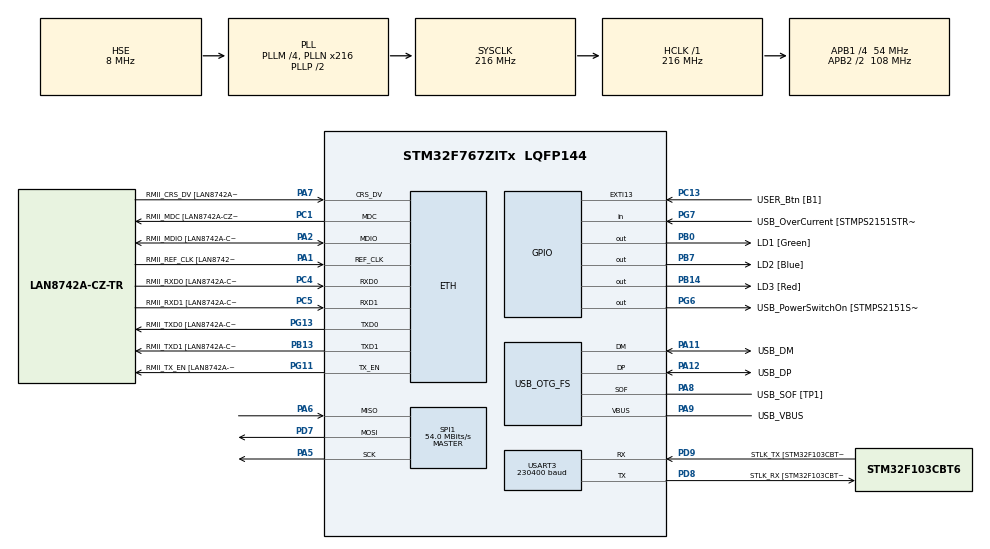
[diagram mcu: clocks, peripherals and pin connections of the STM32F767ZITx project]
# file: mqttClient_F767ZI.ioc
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ETH.MACAddr=02\:00\:00\:00\:00\:00
ETH.MediaInterface=ETH_MEDIA_INTERFACE_RMII
ETH.PHY_Name=LAN8742A_PHY_ADDRESS
ETH.PHY_Value=0
ETH.PhyAddress=1
FREERTOS.Tasks01=defaultTask,32,2048,StartDefaultTask,Default,NULL,Dynamic,NULL,NULL
FREERTOS.configMINIMAL_STACK_SIZE=2048
FREERTOS.configTOTAL_HEAP_SIZE=65355
LWIP.CMSIS_VERSION-Enabled=1
LWIP.DEFAULT_THREAD_STACKSIZE=4096
LWIP.DHCP_DEBUG=LWIP_DBG_ON
LWIP.IP_DEBUG=LWIP_DBG_ON
LWIP.LWIP_ALTCP=1
LWIP.LWIP_ALTCP_TLS=1
LWIP.MEMP_DEBUG=LWIP_DBG_ON
LWIP.MEMP_NUM_PBUF=40
LWIP.MEM_DEBUG=LWIP_DBG_ON
LWIP.MEM_SIZE=32768
LWIP.NETIF_DEBUG=LWIP_DBG_ON
LWIP.PBUF_DEBUG=LWIP_DBG_ON
LWIP.PBUF_POOL_BUFSIZE=1524
LWIP.PBUF_POOL_SIZE=50
LWIP.RAW_DEBUG=LWIP_DBG_ON
LWIP.SLIPIF_THREAD_STACKSIZE=2048
LWIP.SYS_DEBUG=LWIP_DBG_ON
LWIP.TCPIP_DEBUG=LWIP_DBG_ON
LWIP.TCPIP_THREAD_STACKSIZE=4096
LWIP.TCP_DEBUG=LWIP_DBG_ON
LWIP.TCP_INPUT_DEBUG=LWIP_DBG_ON
LWIP.TCP_MSS=1460
LWIP.TCP_OUTPUT_DEBUG=LWIP_DBG_ON
LWIP.TCP_SND_BUF=2921
LWIP.TCP_WND=2920
LWIP.TIMERS_DEBUG=LWIP_DBG_ON
LWIP.Version=v2.1.2_Cube
Mcu.Family=STM32F7
Mcu.Name=STM32F767ZITx
Mcu.Package=LQFP144
Mcu.UserConstants=MQTT_USE_TLS,1
NVIC.ETH_IRQn=true\:5\:0\:false\:false\:true\:true\:false\:true
NVIC.HASH_RNG_IRQn=true\:5\:0\:false\:false\:true\:true\:true\:true
NVIC.PriorityGroup=NVIC_PRIORITYGROUP_4
NVIC.TIM2_IRQn=true\:0\:0\:false\:false\:true\:false\:false\:true
NVIC.TimeBase=TIM2_IRQn
NVIC.TimeBaseIP=TIM2
NVIC.USART3_IRQn=true\:5\:0\:false\:false\:true\:true\:true\:true
PA1.GPIO_Label=RMII_REF_CLK [LAN8742A-CZ-TR_REFCLK0]
PA1.Mode=RMII
PA1.Signal=ETH_REF_CLK
PA10.GPIO_Label=USB_ID
PA10.Signal=USB_OTG_FS_ID
PA11.GPIO_Label=USB_DM
PA11.Mode=Device_Only
PA11.Signal=USB_OTG_FS_DM
PA12.GPIO_Label=USB_DP
PA12.Mode=Device_Only
PA12.Signal=USB_OTG_FS_DP
PA13.GPIO_Label=TMS
PA13.Mode=Serial_Wire
PA13.Signal=SYS_JTMS-SWDIO
PA14.GPIO_Label=TCK
PA14.Mode=Serial_Wire
PA14.Signal=SYS_JTCK-SWCLK
PA2.GPIO_Label=RMII_MDIO [LAN8742A-CZ-TR_MDIO]
PA2.Mode=RMII
PA2.Signal=ETH_MDIO
PA5.Mode=Full_Duplex_Master
PA5.Signal=SPI1_SCK
PA6.Mode=Full_Duplex_Master
PA6.Signal=SPI1_MISO
PA7.GPIO_Label=RMII_CRS_DV [LAN8742A-CZ-TR_CRS_DV]
PA7.Mode=RMII
PA7.Signal=ETH_CRS_DV
PA8.GPIO_Label=USB_SOF [TP1]
PA8.Mode=Activate_SOF_FS
PA8.Signal=USB_OTG_FS_SOF
PA9.GPIO_Label=USB_VBUS
PA9.Mode=Activate_VBUS
PA9.Signal=USB_OTG_FS_VBUS
PB0.GPIO_Label=LD1 [Green]
PB0.Signal=GPIO_Output
PB13.GPIO_Label=RMII_TXD1 [LAN8742A-CZ-TR_TXD1]
PB13.Mode=RMII
PB13.Signal=ETH_TXD1
PB14.GPIO_Label=LD3 [Red]
PB14.Signal=GPIO_Output
PB3.GPIO_Label=SWO
PB3.Signal=SYS_JTDO-SWO
PB7.GPIO_Label=LD2 [Blue]
PB7.Signal=GPIO_Output
PC1.GPIO_Label=RMII_MDC [LAN8742A-CZ-TR_MDC]
PC1.Mode=RMII
PC1.Signal=ETH_MDC
PC13.GPIO_Label=USER_Btn [B1]
PC13.Signal=GPXTI13
PC14/OSC32_IN.Mode=LSE-External-Clock-Source
PC14/OSC32_IN.Signal=RCC_OSC32_IN
PC15/OSC32_OUT.Mode=LSE-External-Clock-Source
PC15/OSC32_OUT.Signal=RCC_OSC32_OUT
PC4.GPIO_Label=RMII_RXD0 [LAN8742A-CZ-TR_RXD0]
PC4.Mode=RMII
PC4.Signal=ETH_RXD0
PC5.GPIO_Label=RMII_RXD1 [LAN8742A-CZ-TR_RXD1]
PC5.Mode=RMII
PC5.Signal=ETH_RXD1
PD7.Mode=Full_Duplex_Master
PD7.Signal=SPI1_MOSI
PD8.GPIO_Label=STLK_RX [STM32F103CBT6_PA3]
PD8.Mode=Asynchronous
PD8.Signal=USART3_TX
PD9.GPIO_Label=STLK_TX [STM32F103CBT6_PA2]
PD9.Mode=Asynchronous
PD9.Signal=USART3_RX
PG11.GPIO_Label=RMII_TX_EN [LAN8742A-CZ-TR_TXEN]
PG11.Mode=RMII
PG11.Signal=ETH_TX_EN
PG13.GPIO_Label=RMII_TXD0 [LAN8742A-CZ-TR_TXD0]
PG13.Mode=RMII
PG13.Signal=ETH_TXD0
PG6.GPIO_Label=USB_PowerSwitchOn [STMPS2151STR_EN]
PG6.Signal=GPIO_Output
PG7.GPIO_Label=USB_OverCurrent [STMPS2151STR_FAULT]
PG7.Signal=GPIO_Input
PH0/OSC_IN.GPIO_Label=MCO [STM32F103CBT6_PA8]
PH0/OSC_IN.Mode=HSE-External-Oscillator
PH0/OSC_IN.Signal=RCC_OSC_IN
PH1/OSC_OUT.Mode=HSE-External-Oscillator
PH1/OSC_OUT.Signal=RCC_OSC_OUT
ProjectManager.HeapSize=0x20000
ProjectManager.StackSize=0x2000
ProjectManager.TargetToolchain=EWARM V8.32
RCC.48MHZClocksFreq_Value=24000000
RCC.AHBFreq_Value=216000000
RCC.APB1CLKDivider=RCC_HCLK_DIV4
RCC.APB1Freq_Value=54000000
RCC.APB1TimFreq_Value=108000000
RCC.APB2CLKDivider=RCC_HCLK_DIV2
RCC.APB2Freq_Value=108000000
RCC.APB2TimFreq_Value=216000000
RCC.CortexFreq_Value=216000000
RCC.HCLKFreq_Value=216000000
RCC.HSE_VALUE=8000000
RCC.HSI_VALUE=16000000
RCC.LSE_VALUE=32768
RCC.PLLM=4
RCC.PLLMUL=RCC_PLL_MUL9
RCC.PLLN=216
RCC.PLLQ=9
RCC.PRESCALERUSB=RCC_USBCLKSOURCE_PLL_DIV1_5
RCC.SYSCLKFreq_VALUE=216000000
RCC.SYSCLKSource=RCC_SYSCLKSOURCE_PLLCLK
RCC.SYSCLKSourceVirtual=RCC_SYSCLKSOURCE_PLLCLK
RCC.USBFreq_Value=48000000
RCC.VCOOutputFreq_Value=432000000
SPI1.BaudRatePrescaler=SPI_BAUDRATEPRESCALER_2
SPI1.CalculateBaudRate=54.0 MBits/s
SPI1.Direction=SPI_DIRECTION_2LINES
SPI1.Mode=SPI_MODE_MASTER
SPI1.VirtualType=VM_MASTER
USART3.BaudRate=230400
USART3.VirtualMode-Asynchronous=VM_ASYNC
USB_OTG_FS.VirtualMode=Device_Only
VP_FREERTOS_VS_CMSIS_V2.Mode=CMSIS_V2
VP_LWIP_VS_Enabled.Mode=Enabled
VP_MBEDTLS_VS_MBEDTLS.Mode=Enabled
VP_RNG_VS_RNG.Mode=RNG_Activate
VP_SYS_VS_tim2.Mode=TIM2
board=NUCLEO-F767ZI

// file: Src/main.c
/* USER CODE BEGIN Header */
/**
  ******************************************************************************
  * @file           : main.c
  * @brief          : Main program body
  ******************************************************************************
  * @attention
  *
  * <h2><center>&copy; Copyright (c) 2020 STMicroelectronics.
  * All rights reserved.</center></h2>
  *
  * This software component is licensed by ST under BSD 3-Clause license,
  * the "License"; You may not use this file except in compliance with the
  * License. You may obtain a copy of the License at:
  *                        opensource.org/licenses/BSD-3-Clause
  *
  ******************************************************************************
  */
/* USER CODE END Header */

#include "main.h"
#include "cmsis_os.h"
#include "mbedtls.h"

/* USER CODE BEGIN Includes */
#include <stdio.h>
#include "userFunctions.hpp"
/* USER CODE END Includes */

RNG_HandleTypeDef hrng;

SPI_HandleTypeDef hspi1;

UART_HandleTypeDef huart3;

PCD_HandleTypeDef hpcd_USB_OTG_FS;

/* Definitions for defaultTask */
osThreadId_t defaultTaskHandle;
const osThreadAttr_t defaultTask_attributes = {
  .name = "defaultTask",
  .priority = (osPriority_t) osPriorityAboveNormal,
  .stack_size = 2048 * 4
};

void SystemClock_Config(void);
static void MX_GPIO_Init(void);
static void MX_USART3_UART_Init(void);
static void MX_USB_OTG_FS_PCD_Init(void);
static void MX_RNG_Init(void);
static void MX_SPI1_Init(void);
void StartDefaultTask(void *argument);

/* USER CODE BEGIN PFP */
#ifdef __GNUC__
/* With GCC, small printf (option LD Linker->Libraries->Small printf
   set to 'Yes') calls __io_putchar() */
#define PUTCHAR_PROTOTYPE int __io_putchar(int ch)
#else
#define PUTCHAR_PROTOTYPE int fputc(int ch, FILE *f)
#endif /* __GNUC__ */
/* USER CODE END PFP */

int main(void)
{

  /* MCU Configuration--------------------------------------------------------*/

  /* Reset of all peripherals, Initializes the Flash interface and the Systick. */
  HAL_Init();

  /* Configure the system clock */
  SystemClock_Config();

  /* Initialize all configured peripherals */
  MX_GPIO_Init();
  MX_USART3_UART_Init();
  MX_USB_OTG_FS_PCD_Init();
  MX_RNG_Init();
  /* Up to user define the empty MX_MBEDTLS_Init() function located in mbedtls.c file */
  MX_SPI1_Init();
  /* USER CODE BEGIN 2 */
  initDebugTerm(&DEBUG_UART);
  printf("\r\nSystem init\r\n");
  //initSpiSensor(SENSOR_SPI, SENSOR_CS_PORT, SENSOR_CS_PIN);
  initMqtt();
  printf("\r\nSystem started\r\n");
  /* USER CODE END 2 */

  /* Init scheduler */
  osKernelInitialize();

  /* Create the thread(s) */
  /* creation of defaultTask */
  defaultTaskHandle = osThreadNew(StartDefaultTask, NULL, &defaultTask_attributes);

  /* USER CODE BEGIN RTOS_THREADS */
  /* add threads, ... */
  startThreads();
  /* USER CODE END RTOS_THREADS */

  /* Start scheduler */
  osKernelStart();

  /* We should never get here as control is now taken by the scheduler */
  /* Infinite loop */
  while (1)
  {

  }
}

void SystemClock_Config(void)
{
  RCC_OscInitTypeDef RCC_OscInitStruct = {0};
  RCC_ClkInitTypeDef RCC_ClkInitStruct = {0};
  RCC_PeriphCLKInitTypeDef PeriphClkInitStruct = {0};

  /** Configure the main internal regulator output voltage
  */
  __HAL_RCC_PWR_CLK_ENABLE();
  __HAL_PWR_VOLTAGESCALING_CONFIG(PWR_REGULATOR_VOLTAGE_SCALE1);
  /** Initializes the CPU, AHB and APB busses clocks
  */
  RCC_OscInitStruct.OscillatorType = RCC_OSCILLATORTYPE_HSE;
  RCC_OscInitStruct.HSEState = RCC_HSE_ON;
  RCC_OscInitStruct.PLL.PLLState = RCC_PLL_ON;
  RCC_OscInitStruct.PLL.PLLSource = RCC_PLLSOURCE_HSE;
  RCC_OscInitStruct.PLL.PLLM = 4;
  RCC_OscInitStruct.PLL.PLLN = 216;
  RCC_OscInitStruct.PLL.PLLP = RCC_PLLP_DIV2;
  RCC_OscInitStruct.PLL.PLLQ = 9;
  if (HAL_RCC_OscConfig(&RCC_OscInitStruct) != HAL_OK)
  {
    Error_Handler();
  }
  /** Activate the Over-Drive mode
  */
  if (HAL_PWREx_EnableOverDrive() != HAL_OK)
  {
    Error_Handler();
  }
  /** Initializes the CPU, AHB and APB busses clocks
  */
  RCC_ClkInitStruct.ClockType = RCC_CLOCKTYPE_HCLK|RCC_CLOCKTYPE_SYSCLK
                              |RCC_CLOCKTYPE_PCLK1|RCC_CLOCKTYPE_PCLK2;
  RCC_ClkInitStruct.SYSCLKSource = RCC_SYSCLKSOURCE_PLLCLK;
  RCC_ClkInitStruct.AHBCLKDivider = RCC_SYSCLK_DIV1;
  RCC_ClkInitStruct.APB1CLKDivider = RCC_HCLK_DIV4;
  RCC_ClkInitStruct.APB2CLKDivider = RCC_HCLK_DIV2;

  if (HAL_RCC_ClockConfig(&RCC_ClkInitStruct, FLASH_LATENCY_7) != HAL_OK)
  {
    Error_Handler();
  }
  PeriphClkInitStruct.PeriphClockSelection = RCC_PERIPHCLK_USART3|RCC_PERIPHCLK_CLK48;
  PeriphClkInitStruct.Usart3ClockSelection = RCC_USART3CLKSOURCE_PCLK1;
  PeriphClkInitStruct.Clk48ClockSelection = RCC_CLK48SOURCE_PLL;
  if (HAL_RCCEx_PeriphCLKConfig(&PeriphClkInitStruct) != HAL_OK)
  {
    Error_Handler();
  }
}

static void MX_RNG_Init(void)
{

  hrng.Instance = RNG;
  if (HAL_RNG_Init(&hrng) != HAL_OK)
  {
    Error_Handler();
  }

}

static void MX_SPI1_Init(void)
{

  /* SPI1 parameter configuration*/
  hspi1.Instance = SPI1;
  hspi1.Init.Mode = SPI_MODE_MASTER;
  hspi1.Init.Direction = SPI_DIRECTION_2LINES;
  hspi1.Init.DataSize = SPI_DATASIZE_4BIT;
  hspi1.Init.CLKPolarity = SPI_POLARITY_LOW;
  hspi1.Init.CLKPhase = SPI_PHASE_1EDGE;
  hspi1.Init.NSS = SPI_NSS_SOFT;
  hspi1.Init.BaudRatePrescaler = SPI_BAUDRATEPRESCALER_2;
  hspi1.Init.FirstBit = SPI_FIRSTBIT_MSB;
  hspi1.Init.TIMode = SPI_TIMODE_DISABLE;
  hspi1.Init.CRCCalculation = SPI_CRCCALCULATION_DISABLE;
  hspi1.Init.CRCPolynomial = 7;
  hspi1.Init.CRCLength = SPI_CRC_LENGTH_DATASIZE;
  hspi1.Init.NSSPMode = SPI_NSS_PULSE_ENABLE;
  if (HAL_SPI_Init(&hspi1) != HAL_OK)
  {
    Error_Handler();
  }

}

static void MX_USART3_UART_Init(void)
{

  huart3.Instance = USART3;
  huart3.Init.BaudRate = 230400;
  huart3.Init.WordLength = UART_WORDLENGTH_8B;
  huart3.Init.StopBits = UART_STOPBITS_1;
  huart3.Init.Parity = UART_PARITY_NONE;
  huart3.Init.Mode = UART_MODE_TX_RX;
  huart3.Init.HwFlowCtl = UART_HWCONTROL_NONE;
  huart3.Init.OverSampling = UART_OVERSAMPLING_16;
  huart3.Init.OneBitSampling = UART_ONE_BIT_SAMPLE_DISABLE;
  huart3.AdvancedInit.AdvFeatureInit = UART_ADVFEATURE_NO_INIT;
  if (HAL_UART_Init(&huart3) != HAL_OK)
  {
    Error_Handler();
  }

}

static void MX_USB_OTG_FS_PCD_Init(void)
{

  hpcd_USB_OTG_FS.Instance = USB_OTG_FS;
  hpcd_USB_OTG_FS.Init.dev_endpoints = 6;
  hpcd_USB_OTG_FS.Init.speed = PCD_SPEED_FULL;
  hpcd_USB_OTG_FS.Init.dma_enable = DISABLE;
  hpcd_USB_OTG_FS.Init.phy_itface = PCD_PHY_EMBEDDED;
  hpcd_USB_OTG_FS.Init.Sof_enable = ENABLE;
  hpcd_USB_OTG_FS.Init.low_power_enable = DISABLE;
  hpcd_USB_OTG_FS.Init.lpm_enable = DISABLE;
  hpcd_USB_OTG_FS.Init.vbus_sensing_enable = ENABLE;
  hpcd_USB_OTG_FS.Init.use_dedicated_ep1 = DISABLE;
  if (HAL_PCD_Init(&hpcd_USB_OTG_FS) != HAL_OK)
  {
    Error_Handler();
  }

}

static void MX_GPIO_Init(void)
{
  GPIO_InitTypeDef GPIO_InitStruct = {0};

  /* GPIO Ports Clock Enable */
  __HAL_RCC_GPIOC_CLK_ENABLE();
  __HAL_RCC_GPIOH_CLK_ENABLE();
  __HAL_RCC_GPIOA_CLK_ENABLE();
  __HAL_RCC_GPIOB_CLK_ENABLE();
  __HAL_RCC_GPIOD_CLK_ENABLE();
  __HAL_RCC_GPIOG_CLK_ENABLE();

  /*Configure GPIO pin Output Level */
  HAL_GPIO_WritePin(GPIOB, LD1_Pin|LD3_Pin|LD2_Pin, GPIO_PIN_RESET);

  /*Configure GPIO pin Output Level */
  HAL_GPIO_WritePin(USB_PowerSwitchOn_GPIO_Port, USB_PowerSwitchOn_Pin, GPIO_PIN_RESET);

  /*Configure GPIO pin : USER_Btn_Pin */
  GPIO_InitStruct.Pin = USER_Btn_Pin;
  GPIO_InitStruct.Mode = GPIO_MODE_IT_RISING;
  GPIO_InitStruct.Pull = GPIO_NOPULL;
  HAL_GPIO_Init(USER_Btn_GPIO_Port, &GPIO_InitStruct);

  /*Configure GPIO pins : LD1_Pin LD3_Pin LD2_Pin */
  GPIO_InitStruct.Pin = LD1_Pin|LD3_Pin|LD2_Pin;
  GPIO_InitStruct.Mode = GPIO_MODE_OUTPUT_PP;
  GPIO_InitStruct.Pull = GPIO_NOPULL;
  GPIO_InitStruct.Speed = GPIO_SPEED_FREQ_LOW;
  HAL_GPIO_Init(GPIOB, &GPIO_InitStruct);

  /*Configure GPIO pin : USB_PowerSwitchOn_Pin */
  GPIO_InitStruct.Pin = USB_PowerSwitchOn_Pin;
  GPIO_InitStruct.Mode = GPIO_MODE_OUTPUT_PP;
  GPIO_InitStruct.Pull = GPIO_NOPULL;
  GPIO_InitStruct.Speed = GPIO_SPEED_FREQ_LOW;
  HAL_GPIO_Init(USB_PowerSwitchOn_GPIO_Port, &GPIO_InitStruct);

  /*Configure GPIO pin : USB_OverCurrent_Pin */
  GPIO_InitStruct.Pin = USB_OverCurrent_Pin;
  GPIO_InitStruct.Mode = GPIO_MODE_INPUT;
  GPIO_InitStruct.Pull = GPIO_NOPULL;
  HAL_GPIO_Init(USB_OverCurrent_GPIO_Port, &GPIO_InitStruct);

}

/* USER CODE BEGIN 4 */
PUTCHAR_PROTOTYPE
{
  /* Place your implementation of fputc here */
  /* e.g. write a character to the USART1 and Loop until the end of transmission */
  if(putDebugChar(ch) == HAL_OK)
    return ch;
  else
    return EOF;
}

/*Interrupts callbacs*/
void HAL_UART_TxCpltCallback(UART_HandleTypeDef *huart){
  if(huart == &DEBUG_UART)
    debugTxComplette();
}

/*void HAL_SPI_TxCpltCallback(SPI_HandleTypeDef *hspi){
  if(hspi == SENSOR_SPI){
    if(!HAL_GPIO_ReadPin(SENSOR_CS_PORT, SENSOR_CS_PIN)){
      sensorTxReady();
    }
  }
}
*/
/*
void HAL_SPI_TxRxCpltCallback(SPI_HandleTypeDef *hspi){
  if(hspi == SENSOR_SPI){
    if(!HAL_GPIO_ReadPin(SENSOR_CS_PORT, SENSOR_CS_PIN)){
      sensorTxReady();
    }
  }
}
*/
/* USER CODE END 4 */

void StartDefaultTask(void *argument)
{
  for(;;)
  {
    osDelay(1);
  }
}

 /**
  * @brief  Period elapsed callback in non blocking mode
  * @note   This function is called  when TIM2 interrupt took place, inside
  * HAL_TIM_IRQHandler(). It makes a direct call to HAL_IncTick() to increment
  * a global variable "uwTick" used as application time base.
  * @param  htim : TIM handle
  * @retval None
  */
void HAL_TIM_PeriodElapsedCallback(TIM_HandleTypeDef *htim)
{
  if (htim->Instance == TIM2) {
    HAL_IncTick();
  }
}

void Error_Handler(void)
{
}

/************************ (C) COPYRIGHT STMicroelectronics *****END OF FILE****/
